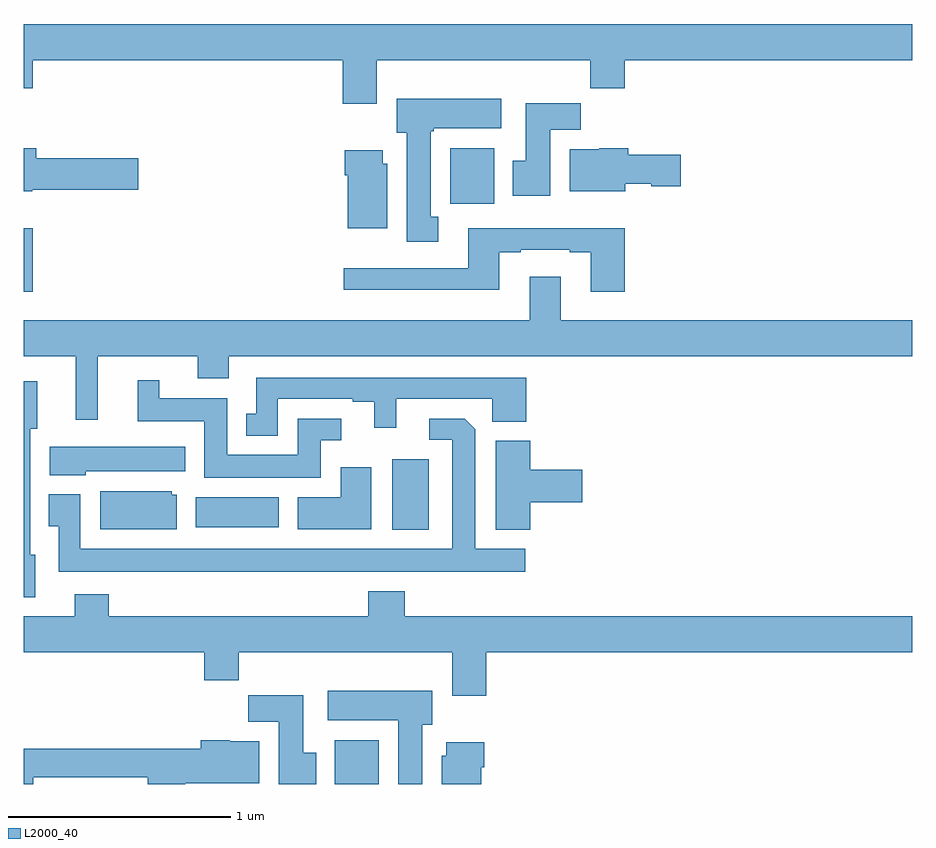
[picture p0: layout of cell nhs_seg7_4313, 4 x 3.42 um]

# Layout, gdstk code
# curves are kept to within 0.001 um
import gdstk
lib = gdstk.Library(unit=1e-6, precision=1e-09)
def R(c, l, rs):  # rectangles x0, y0, x1, y1
    for r in rs: c.add(gdstk.rectangle(r[:2], r[2:], *l))
def P(c, l, *ps):  # polygons
    for p in ps: c.add(gdstk.Polygon(p, *l))
L2000_40 = (2000, 40)

nhs_seg7_4313 = lib.new_cell('nhs_seg7_4313')
R(nhs_seg7_4313, L2000_40, [(384.401,1024,384.598,1024.198), (384.659,1025.144,384.823,1025.461), (383.775,1025.156,384.148,1025.29), (383,1026.216,383.042,1026.502), (384.921,1026.612,385.117,1026.862)])
P(nhs_seg7_4313, L2000_40, [(384.589,1027.256),(385.549,1027.256),(385.549,1027.132),(385.706,1027.132),(385.706,1027.256),(387,1027.256),(387,1027.42),(383,1027.42),(383,1027.132),(383.042,1027.132),(383.042,1027.256),(384.437,1027.256),(384.437,1027.062),(384.589,1027.062)],
  [(384.865,1026.553),(384.832,1026.553),(384.832,1026.937),(384.846,1026.937),(384.846,1026.95),(385.15,1026.95),(385.15,1027.084),(384.68,1027.084),(384.68,1026.93),(384.725,1026.93),(384.725,1026.441),(384.865,1026.441)],
  [(385.369,1026.944),(385.508,1026.944),(385.508,1027.063),(385.259,1027.063),(385.259,1026.804),(385.202,1026.804),(385.202,1026.648),(385.369,1026.648)],
  [(385.708,1026.701),(385.824,1026.701),(385.824,1026.689),(385.957,1026.689),(385.957,1026.831),(385.721,1026.831),(385.721,1026.862),(385.59,1026.862),(385.59,1026.856),(385.457,1026.856),(385.457,1026.668),(385.708,1026.668)],
  [(383.04,1026.674),(383.515,1026.674),(383.515,1026.816),(383.057,1026.816),(383.057,1026.862),(383,1026.862),(383,1026.668),(383.04,1026.668)],
  [(384.637,1026.792),(384.616,1026.792),(384.616,1026.853),(384.446,1026.853),(384.446,1026.74),(384.458,1026.74),(384.458,1026.5),(384.637,1026.5)],
  [(385.706,1026.502),(385.001,1026.502),(385.001,1026.321),(384.441,1026.321),(384.441,1026.224),(385.141,1026.224),(385.141,1026.393),(385.237,1026.393),(385.237,1026.405),(385.457,1026.405),(385.457,1026.393),(385.553,1026.393),(385.553,1026.216),(385.706,1026.216)],
  [(383.333,1025.924),(383.783,1025.924),(383.783,1025.825),(383.923,1025.825),(383.923,1025.924),(387,1025.924),(387,1026.088),(385.417,1026.088),(385.417,1026.283),(385.277,1026.283),(385.277,1026.088),(383,1026.088),(383,1025.924),(383.234,1025.924),(383.234,1025.64),(383.333,1025.64)],
  [(384.144,1025.733),(384.482,1025.733),(384.482,1025.721),(384.578,1025.721),(384.578,1025.603),(384.676,1025.603),(384.676,1025.733),(385.11,1025.733),(385.11,1025.63),(385.262,1025.63),(385.262,1025.829),(384.048,1025.829),(384.048,1025.667),(384.002,1025.667),(384.002,1025.567),(384.144,1025.567)],
  [(384.337,1025.547),(384.43,1025.547),(384.43,1025.643),(384.233,1025.643),(384.233,1025.482),(383.917,1025.482),(383.917,1025.737),(383.611,1025.737),(383.611,1025.818),(383.513,1025.818),(383.513,1025.633),(383.813,1025.633),(383.813,1025.378),(384.337,1025.378)],
  [(383.053,1025.031),(383.029,1025.031),(383.029,1025.598),(383.062,1025.598),(383.062,1025.812),(383,1025.812),(383,1024.841),(383.053,1024.841)],
  [(385.258,1025.059),(385.033,1025.059),(385.032,1025.597),(384.986,1025.643),(384.825,1025.643),(384.825,1025.55),(384.929,1025.55),(384.929,1025.059),(383.256,1025.059),(383.256,1025.305),(383.114,1025.305),(383.114,1025.161),(383.159,1025.161),(383.159,1024.955),(385.258,1024.955)],
  [(385.28,1025.267),(385.513,1025.267),(385.513,1025.414),(385.28,1025.414),(385.28,1025.545),(385.124,1025.545),(385.124,1025.144),(385.28,1025.144)],
  [(383.28,1025.408),(383.728,1025.408),(383.728,1025.518),(383.118,1025.518),(383.118,1025.39),(383.28,1025.39)],
  [(384.565,1025.425),(384.428,1025.425),(384.428,1025.29),(384.233,1025.29),(384.233,1025.147),(384.565,1025.147)],
  [(383.689,1025.301),(383.667,1025.301),(383.667,1025.317),(383.345,1025.317),(383.345,1025.147),(383.689,1025.147)],
  [(385.082,1024.592),(387,1024.592),(387,1024.756),(384.716,1024.756),(384.716,1024.867),(384.551,1024.867),(384.551,1024.756),(383.384,1024.756),(383.384,1024.855),(383.231,1024.855),(383.231,1024.756),(383,1024.756),(383,1024.592),(383.813,1024.592),(383.813,1024.468),(383.969,1024.468),(383.969,1024.592),(384.929,1024.592),(384.929,1024.398),(385.082,1024.398)],
  [(384.793,1024.266),(384.838,1024.266),(384.838,1024.42),(384.369,1024.42),(384.369,1024.286),(384.686,1024.286),(384.686,1024),(384.793,1024)],
  [(384.316,1024.14),(384.259,1024.14),(384.259,1024.399),(384.01,1024.399),(384.01,1024.28),(384.149,1024.28),(384.149,1024),(384.316,1024)],
  [(383.044,1024.03),(383.558,1024.03),(383.558,1024),(383.728,1024),(383.728,1024.004),(384.061,1024.004),(384.061,1024.192),(383.928,1024.192),(383.928,1024.198),(383.798,1024.198),(383.798,1024.159),(383,1024.159),(383,1024),(383.044,1024)],
  [(385.06,1024.076),(385.073,1024.076),(385.073,1024.189),(384.902,1024.189),(384.902,1024.128),(384.881,1024.128),(384.881,1024),(385.06,1024)])

lib.write_gds('nhs_seg7_4313.gds')
